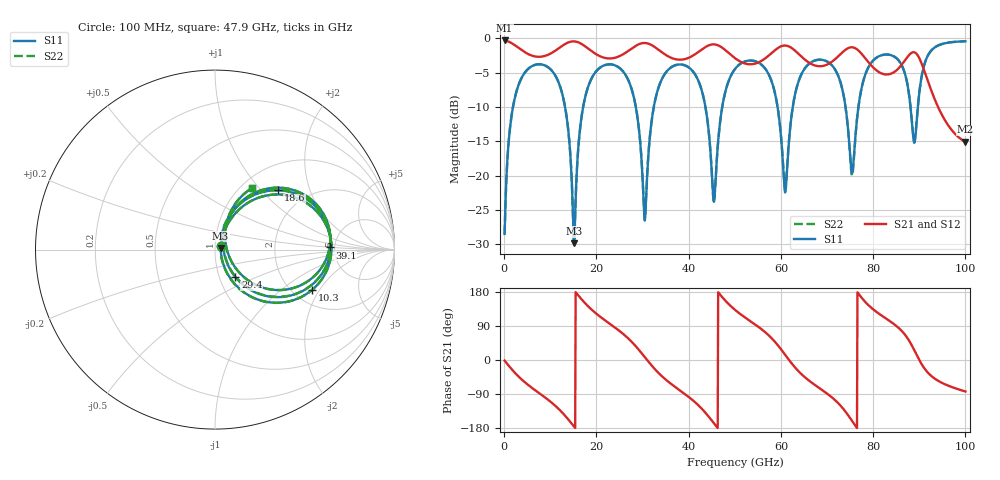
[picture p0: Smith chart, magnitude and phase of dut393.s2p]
! Touchstone file exported from HFSS 2026.1.0
!  File:  C:/ffzhzh/LocalFiles/Ansys_Project_Files/temp_train_TSV_RDL_393_1783719057_45164.aedt
!  Generated:  05:40:26 AM Jul 11, 2026
!  Design:  TSV_RDL
!  Project:  temp_train_TSV_RDL_393_1783719057_45164
! Variables:
!  h_bsmrdl = 2.14um
!  h_ox = 20um
!  h_rdl = 5um
!  h_sub = 79.7um
!  h_tmrdl = 2.6um
!  h_tsv = 79.7um
!  h_via = 3um
!  l_bsmrdl = 622.69um
!  l_sub = 3831.68um
!  l_tmrdl = 367.27um
!  m_sub = 200um
!  pitch = 55.74um
!  r_tsv = 7.28um
!  s_tmrdl = 10um
!  w_bsmrdl = 18.35um
!  w_sub = 500um
!  w_tmrdl = 13.16um
!  x_tsv_center1 = 373.85um
!  x_tsv_center2 = 1014.89um
!  x_tsv_center3 = 1395.32um
!  x_tsv_center4 = 2036.36um
!  x_tsv_center5 = 2416.79um
!  x_tsv_center6 = 3057.83um
# GHz S MA R 50.000000
! Terminal data exported
! Port[1] = TM_RDL1_1_T1
! Port[2] = TM_RDL5_1_T1
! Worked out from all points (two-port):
!   1000 points, 100 MHz to 100 GHz, reference 50 ohm
!   highest |S21| = -0.29 dB at 100 MHz (marker M1); lowest = -15.0 dB at 100 GHz (marker M2)
!   |S21| within 3 dB of the highest: start of sweep to 50.99 GHz; 55.72 GHz to 65.6 GHz (9.878 GHz wide, 16.3 % of centre)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
!   lowest |S11| = -29.8 dB at 15.2 GHz (marker M3), VSWR 1.07, Z = 53.2 + j0.945 ohm
!   |S11| at or under -10 dB: 13.21 GHz to 17.12 GHz (3.903 GHz wide, 25.7 % of centre); 28.55 GHz to 32.44 GHz (3.885 GHz wide, 12.7 % of centre); 43.64 GHz to 47.27 GHz (3.631 GHz wide, 7.99 % of centre)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
!   |S22| runs from -30.2 to -0.4 dB; largest |S21 - S12| = 1.6e-13
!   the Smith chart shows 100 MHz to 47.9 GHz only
!   S11 on the Smith chart (normalised r, x): 100 MHz: 1.07, +0.04; 10.3 GHz: 2.50, -1.72; 18.6 GHz: 1.45, +1.25; 29.4 GHz: 1.19, -0.38; 39.1 GHz: 4.52, +0.19; 47.9 GHz: 1.13, +0.92
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0.1  0.03773 28.3  0.9671 -1.6  0.9671 -1.6  0.03773 28.3
! Gamma 0 0 0 0
! Port Impedance 50 0 50 0
3  0.4462 43.4  0.8602 -42.2  0.8602 -42.2  0.4462 43.4
10.3  0.5847 -22.7  0.7844 -112.6  0.7844 -112.6  0.5847 -22.8
15.2  0.03236 15.9  0.9522 -176.4  0.9522 -176.4  0.03074 16.6
16.8  0.2718 62.6  0.9113 160.0  0.9113 160.0  0.2716 63.0
18.6  0.4822 43.2  0.8254 137.1  0.8254 137.1  0.4821 43.5
23.9  0.6396 -3.5  0.7216 86.8  0.7216 86.8  0.6396 -3.3
29.4  0.1914 -53.4  0.9136 24.0  0.9136 24.0  0.1917 -52.9
30.6  0.05072 26.7  0.9264 5.9  0.9264 5.9  0.05239 26.1
33.4  0.4319 50.9  0.8308 -33.4  0.8308 -33.4  0.4322 50.8
39.1  0.6385 1.1  0.7067 -89.1  0.7067 -89.1  0.6386 1.1
45.5  0.06465 15.2  0.9058 -167.1  0.9058 -167.1  0.06437 15.2
47.9  0.4023 58.7  0.8252 157.4  0.8252 157.4  0.4022 58.9
50.1  0.6026 37.8  0.7164 131.9  0.7164 131.9  0.6025 38.0
57.5  0.5354 -22.4  0.7579 63.4  0.7579 63.4  0.5357 -22.0
60.9  0.07555 8.7  0.8885 14.1  0.8885 14.1  0.08059 9.1
66.7  0.6753 27.8  0.6493 -60.0  0.6493 -60.0  0.6756 27.5
75.9  0.149 55.6  0.8561 -169.1  0.8561 -169.1  0.1457 56.9
83.4  0.7619 14.7  0.5483 104.5  0.5483 104.5  0.762 15.0
89.4  0.2393 55.0  0.7738 14.0  0.7738 14.0  0.244 54.1
91.9  0.7548 45.4  0.4864 -33.8  0.4864 -33.8  0.7556 45.1
100  0.9543 5.3  0.1771 -83.1  0.1771 -83.1  0.9544 5.2
